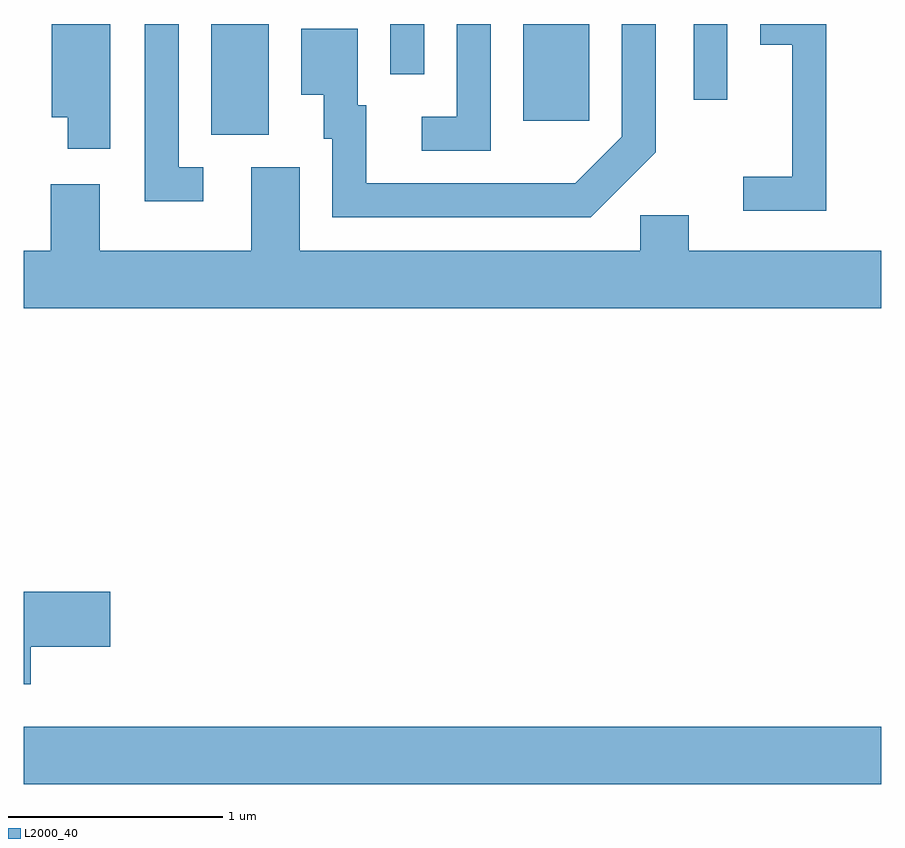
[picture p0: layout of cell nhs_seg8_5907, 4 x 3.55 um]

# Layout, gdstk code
import gdstk
lib = gdstk.Library(unit=1e-6, precision=1e-09)
def R(c, l, rs):  # rectangles x0, y0, x1, y1
    for r in rs: c.add(gdstk.rectangle(r[:2], r[2:], *l))
def P(c, l, *ps):  # polygons
    for p in ps: c.add(gdstk.Polygon(p, *l))
L2000_40 = (2000, 40)

nhs_seg8_5907 = lib.new_cell('nhs_seg8_5907')
R(nhs_seg8_5907, L2000_40, [(361.611,1900.796,365.611,1901.064), (362.486,1903.826,362.754,1904.342), (363.941,1903.891,364.249,1904.342), (364.736,1903.988,364.894,1904.342), (363.321,1904.108,363.479,1904.342)])
P(nhs_seg8_5907, L2000_40, [(362.448,1903.674),(362.334,1903.674),(362.334,1904.342),(362.176,1904.342),(362.176,1903.516),(362.448,1903.516)],
  [(365.354,1904.342),(365.046,1904.342),(365.046,1904.246),(365.196,1904.246),(365.196,1903.629),(364.968,1903.629),(364.968,1903.471),(365.354,1903.471)],
  [(364.559,1903.744),(364.559,1904.342),(364.401,1904.342),(364.401,1903.817),(364.184,1903.599),(363.209,1903.599),(363.209,1903.964),(363.169,1903.964),(363.169,1904.319),(362.906,1904.319),(362.906,1904.011),(363.011,1904.011),(363.011,1903.806),(363.051,1903.806),(363.051,1903.441),(364.257,1903.441)],
  [(362.014,1904.342),(361.741,1904.342),(361.741,1903.906),(361.816,1903.906),(361.816,1903.761),(362.014,1903.761)],
  [(363.789,1904.342),(363.631,1904.342),(363.631,1903.909),(363.468,1903.909),(363.468,1903.751),(363.789,1903.751)],
  [(365.611,1903.284),(364.714,1903.284),(364.714,1903.449),(364.486,1903.449),(364.486,1903.284),(362.899,1903.284),(362.899,1903.674),(362.671,1903.674),(362.671,1903.284),(361.964,1903.284),(361.964,1903.594),(361.736,1903.594),(361.736,1903.284),(361.611,1903.284),(361.611,1903.016),(365.611,1903.016)],
  [(361.644,1901.436),(362.014,1901.436),(362.014,1901.694),(361.611,1901.694),(361.611,1901.261),(361.644,1901.261)])

lib.write_gds('nhs_seg8_5907.gds')
